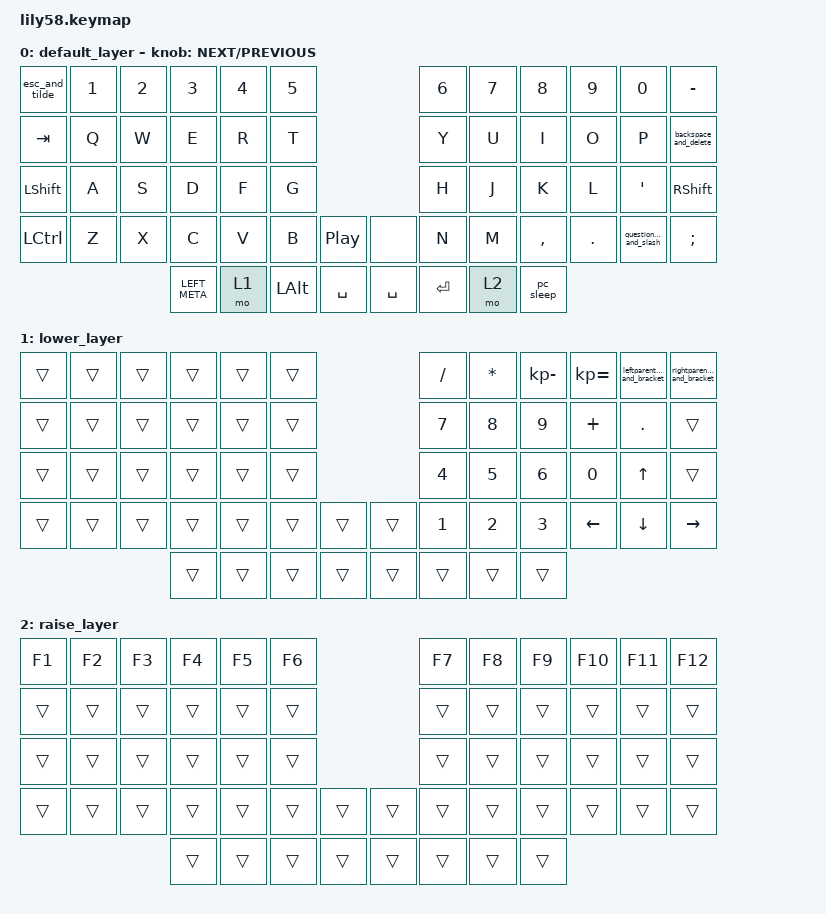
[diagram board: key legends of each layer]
/*
 * Copyright (c) 2020 The ZMK Contributors
 *
 * SPDX-License-Identifier: MIT
 */

#include <behaviors.dtsi>
#include <dt-bindings/zmk/keys.h>

/ {
    macros {
        pc_sleep: pc_sleep {
            compatible = "zmk,behavior-macro";
            #binding-cells = <0>;
            bindings = <&kp LG(X) &kp U &kp S>;
            label = "PC_SLEEP";
        };
    };

    behaviors {
        questionmark_and_slash: questionmark_and_slash {
            compatible = "zmk,behavior-mod-morph";
            label = "QUESTIONMARK_AND_SLASH";
            bindings = <&kp QUESTION>, <&kp SLASH>;

            #binding-cells = <0>;
            mods = <(MOD_LSFT|MOD_RSFT)>;
        };

        leftparenthesis_and_bracket: leftparenthesis_and_bracket {
            compatible = "zmk,behavior-mod-morph";
            label = "LEFTPARENTHESIS_AND_BRACKET";
            bindings = <&kp LEFT_PARENTHESIS>, <&kp LEFT_BRACKET>;

            #binding-cells = <0>;
            mods = <(MOD_LSFT|MOD_RSFT)>;
        };

        rightparenthesis_and_bracket: rightparenthesis_and_bracket {
            compatible = "zmk,behavior-mod-morph";
            label = "RIGHTPARENTHESIS_AND_BRACKET";
            bindings = <&kp RIGHT_PARENTHESIS>, <&kp RIGHT_BRACKET>;

            #binding-cells = <0>;
            mods = <(MOD_LSFT|MOD_RSFT)>;
        };

        backspace_and_delete: backspace_and_delete {
            compatible = "zmk,behavior-mod-morph";
            label = "BACKSPACE_AND_DELETE";
            bindings = <&kp BACKSPACE>, <&kp DELETE>;

            #binding-cells = <0>;
            mods = <(MOD_LSFT|MOD_RSFT)>;
        };

        esc_and_tilde: esc_and_tilde {
            compatible = "zmk,behavior-mod-morph";
            label = "ESC_AND_TILDE";
            bindings = <&kp ESCAPE>, <&kp TILDE>;

            #binding-cells = <0>;
            mods = <(MOD_LSFT|MOD_RSFT)>;
        };
    };

    keymap {
        compatible = "zmk,keymap";

        default_layer {
            // ------------------------------------------------------------------------------------------------------------
            // |  ESC  |  1  |  2  |  3   |  4   |  5   |                   |  6   |  7    |  8    |  9   |   0   |   `   |
            // |  TAB  |  Q  |  W  |  E   |  R   |  T   |                   |  Y   |  U    |  I    |  O   |   P   |   -   |
            // |  CTRL |  A  |  S  |  D   |  F   |  G   |                   |  H   |  J    |  K    |  L   |   ;   |   '   |
            // | SHIFT |  Z  |  X  |  C   |  V   |  B   |   "["  |  |  "]"  |  N   |  M    |  ,    |  .   |   /   | SHIFT |
            //                     | ALT  | GUI  | LOWER|  SPACE |  | ENTER | RAISE| BSPC  | GUI   |

            bindings = <
&esc_and_tilde    &kp N1  &kp N2  &kp N3         &kp N4  &kp N5                                       &kp N6     &kp N7  &kp N8     &kp N9   &kp N0                   &kp MINUS
&kp TAB           &kp Q   &kp W   &kp E          &kp R   &kp T                                        &kp Y      &kp U   &kp I      &kp O    &kp P                    &backspace_and_delete
&kp LEFT_SHIFT    &kp A   &kp S   &kp D          &kp F   &kp G                                        &kp H      &kp J   &kp K      &kp L    &kp SINGLE_QUOTE         &kp RIGHT_SHIFT
&kp LEFT_CONTROL  &kp Z   &kp X   &kp C          &kp V   &kp B         &kp C_PLAY_PAUSE    &none      &kp N      &kp M   &kp COMMA  &kp DOT  &questionmark_and_slash  &kp SEMICOLON
                                  &kp LEFT_META  &mo 1   &kp LEFT_ALT  &kp SPACE           &kp SPACE  &kp ENTER  &mo 2   &pc_sleep
            >;

            sensor-bindings = <&inc_dec_kp C_NEXT C_PREVIOUS>;
        };

        lower_layer {
            bindings = <
&trans  &trans  &trans  &trans  &trans  &trans                    &kp FSLH  &kp STAR  &kp KP_MINUS  &kp KP_EQUAL  &leftparenthesis_and_bracket  &rightparenthesis_and_bracket
&trans  &trans  &trans  &trans  &trans  &trans                    &kp N7    &kp N8    &kp N9        &kp PLUS      &kp DOT                       &trans
&trans  &trans  &trans  &trans  &trans  &trans                    &kp N4    &kp N5    &kp N6        &kp N0        &kp UP                        &trans
&trans  &trans  &trans  &trans  &trans  &trans  &trans    &trans  &kp N1    &kp N2    &kp N3        &kp LEFT      &kp DOWN                      &kp RIGHT
                        &trans  &trans  &trans  &trans    &trans  &trans    &trans    &trans
            >;
        };

        raise_layer {
            bindings = <
&kp F1  &kp F2  &kp F3  &kp F4  &kp F5  &kp F6                    &kp F7  &kp F8  &kp F9  &kp F10  &kp F11  &kp F12
&trans  &trans  &trans  &trans  &trans  &trans                    &trans  &trans  &trans  &trans   &trans   &trans
&trans  &trans  &trans  &trans  &trans  &trans                    &trans  &trans  &trans  &trans   &trans   &trans
&trans  &trans  &trans  &trans  &trans  &trans  &trans    &trans  &trans  &trans  &trans  &trans   &trans   &trans
                        &trans  &trans  &trans  &trans    &trans  &trans  &trans  &trans
            >;
        };
    };
};
